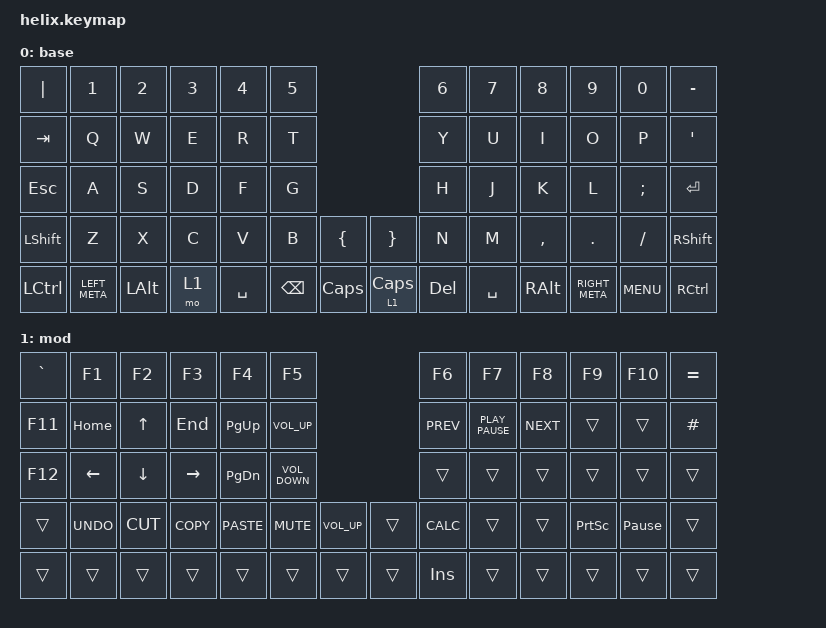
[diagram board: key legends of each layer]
/*
 * Copyright (c) 2020 The ZMK Contributors
 *
 * SPDX-License-Identifier: MIT
 */

#include <behaviors.dtsi>
#include <dt-bindings/zmk/keys.h>
#include <dt-bindings/zmk/outputs.h>
#include <dt-bindings/zmk/pointing.h>

/ {
    keymap {
        compatible = "zmk,keymap";

        base {
            bindings = <
&kp PIPE    &kp N1         &kp N2        &kp N3  &kp N4     &kp N5                                            &kp N6      &kp N7     &kp N8         &kp N9          &kp N0         &kp MINUS
&kp TAB     &kp Q          &kp W         &kp E   &kp R      &kp T                                             &kp Y       &kp U      &kp I          &kp O           &kp P          &kp SQT
&kp ESCAPE  &kp A          &kp S         &kp D   &kp F      &kp G                                             &kp H       &kp J      &kp K          &kp L           &kp SEMICOLON  &kp ENTER
&kp LSHFT   &kp Z          &kp X         &kp C   &kp V      &kp B          &kp LEFT_BRACE    &kp RIGHT_BRACE  &kp N       &kp M      &kp COMMA      &kp PERIOD      &kp SLASH      &kp RIGHT_SHIFT
&kp LCTRL   &kp LEFT_META  &kp LEFT_ALT  &mo 1   &kp SPACE  &kp BACKSPACE  &kp CAPSLOCK      &lt 1 CAPS       &kp DELETE  &kp SPACE  &kp RIGHT_ALT  &kp RIGHT_META  &kp C_MENU     &kp RCTRL
            >;

            label = "base";
        };

        Mod {
            bindings = <
&kp GRAVE  &kp F1          &kp F2          &kp F3      &kp F4         &kp F5                                     &kp F6      &kp F7            &kp F8      &kp F9           &kp F10          &kp EQUAL
&kp F11    &kp HOME        &kp UP_ARROW    &kp END     &kp PAGE_UP    &kp K_VOLUME_UP                            &kp K_PREV  &kp K_PLAY_PAUSE  &kp K_NEXT  &trans           &trans           &kp HASH
&kp F12    &kp LEFT_ARROW  &kp DOWN_ARROW  &kp RIGHT   &kp PAGE_DOWN  &kp K_VOLUME_DOWN                          &trans      &trans            &trans      &trans           &trans           &trans
&trans     &kp K_UNDO      &kp K_CUT       &kp K_COPY  &kp K_PASTE    &kp K_MUTE         &kp C_VOL_UP    &trans  &kp K_CALC  &trans            &trans      &kp PRINTSCREEN  &kp PAUSE_BREAK  &trans
&trans     &trans          &trans          &trans      &trans         &trans             &trans          &trans  &kp INSERT  &trans            &trans      &trans           &trans           &trans
            >;

            label = "mod";
        };
    };
};
